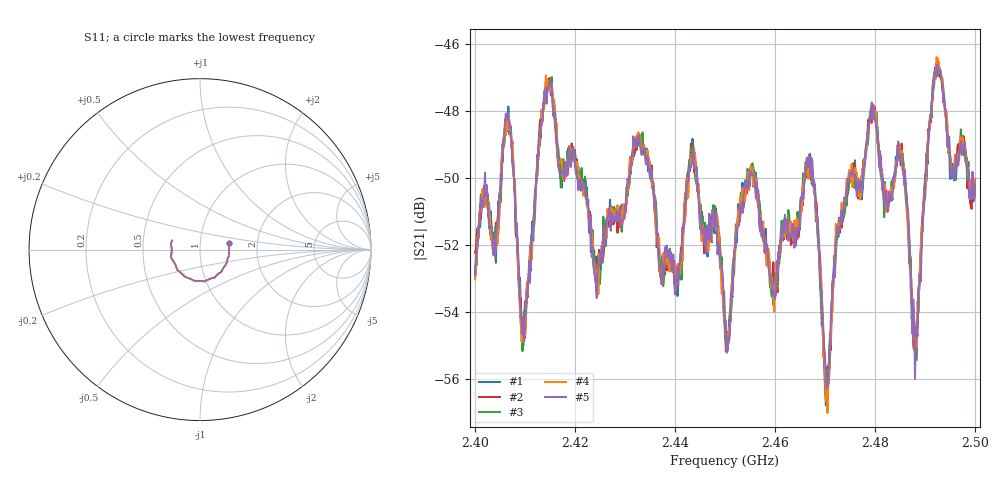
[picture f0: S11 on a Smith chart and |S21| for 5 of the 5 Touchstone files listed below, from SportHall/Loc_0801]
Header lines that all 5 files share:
# Hz S RI R
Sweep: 2.4 GHz to 2.5 GHz
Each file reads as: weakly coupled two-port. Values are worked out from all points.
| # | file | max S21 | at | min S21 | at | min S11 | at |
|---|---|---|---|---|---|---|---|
| 1 | Lab_139_3Ch1.s2p | -46.55 dB | 2.4927 GHz | -56.8 dB | 2.4702 GHz | -15.6 dB | 2.4935 GHz |
| 2 | Lab_139_5Ch1.s2p | -46.41 dB | 2.4925 GHz | -56.4 dB | 2.47 GHz | -15.6 dB | 2.4932 GHz |
| 3 | Lab_139_6Ch1.s2p | -46.65 dB | 2.4923 GHz | -56.6 dB | 2.4702 GHz | -15.6 dB | 2.4932 GHz |
| 4 | Lab_139_9Ch1.s2p | -46.40 dB | 2.4923 GHz | -57.0 dB | 2.4705 GHz | -15.6 dB | 2.4928 GHz |
| 5 | Lab_139_10Ch1.s2p | -46.60 dB | 2.4925 GHz | -56.3 dB | 2.4703 GHz | -15.6 dB | 2.4932 GHz |
